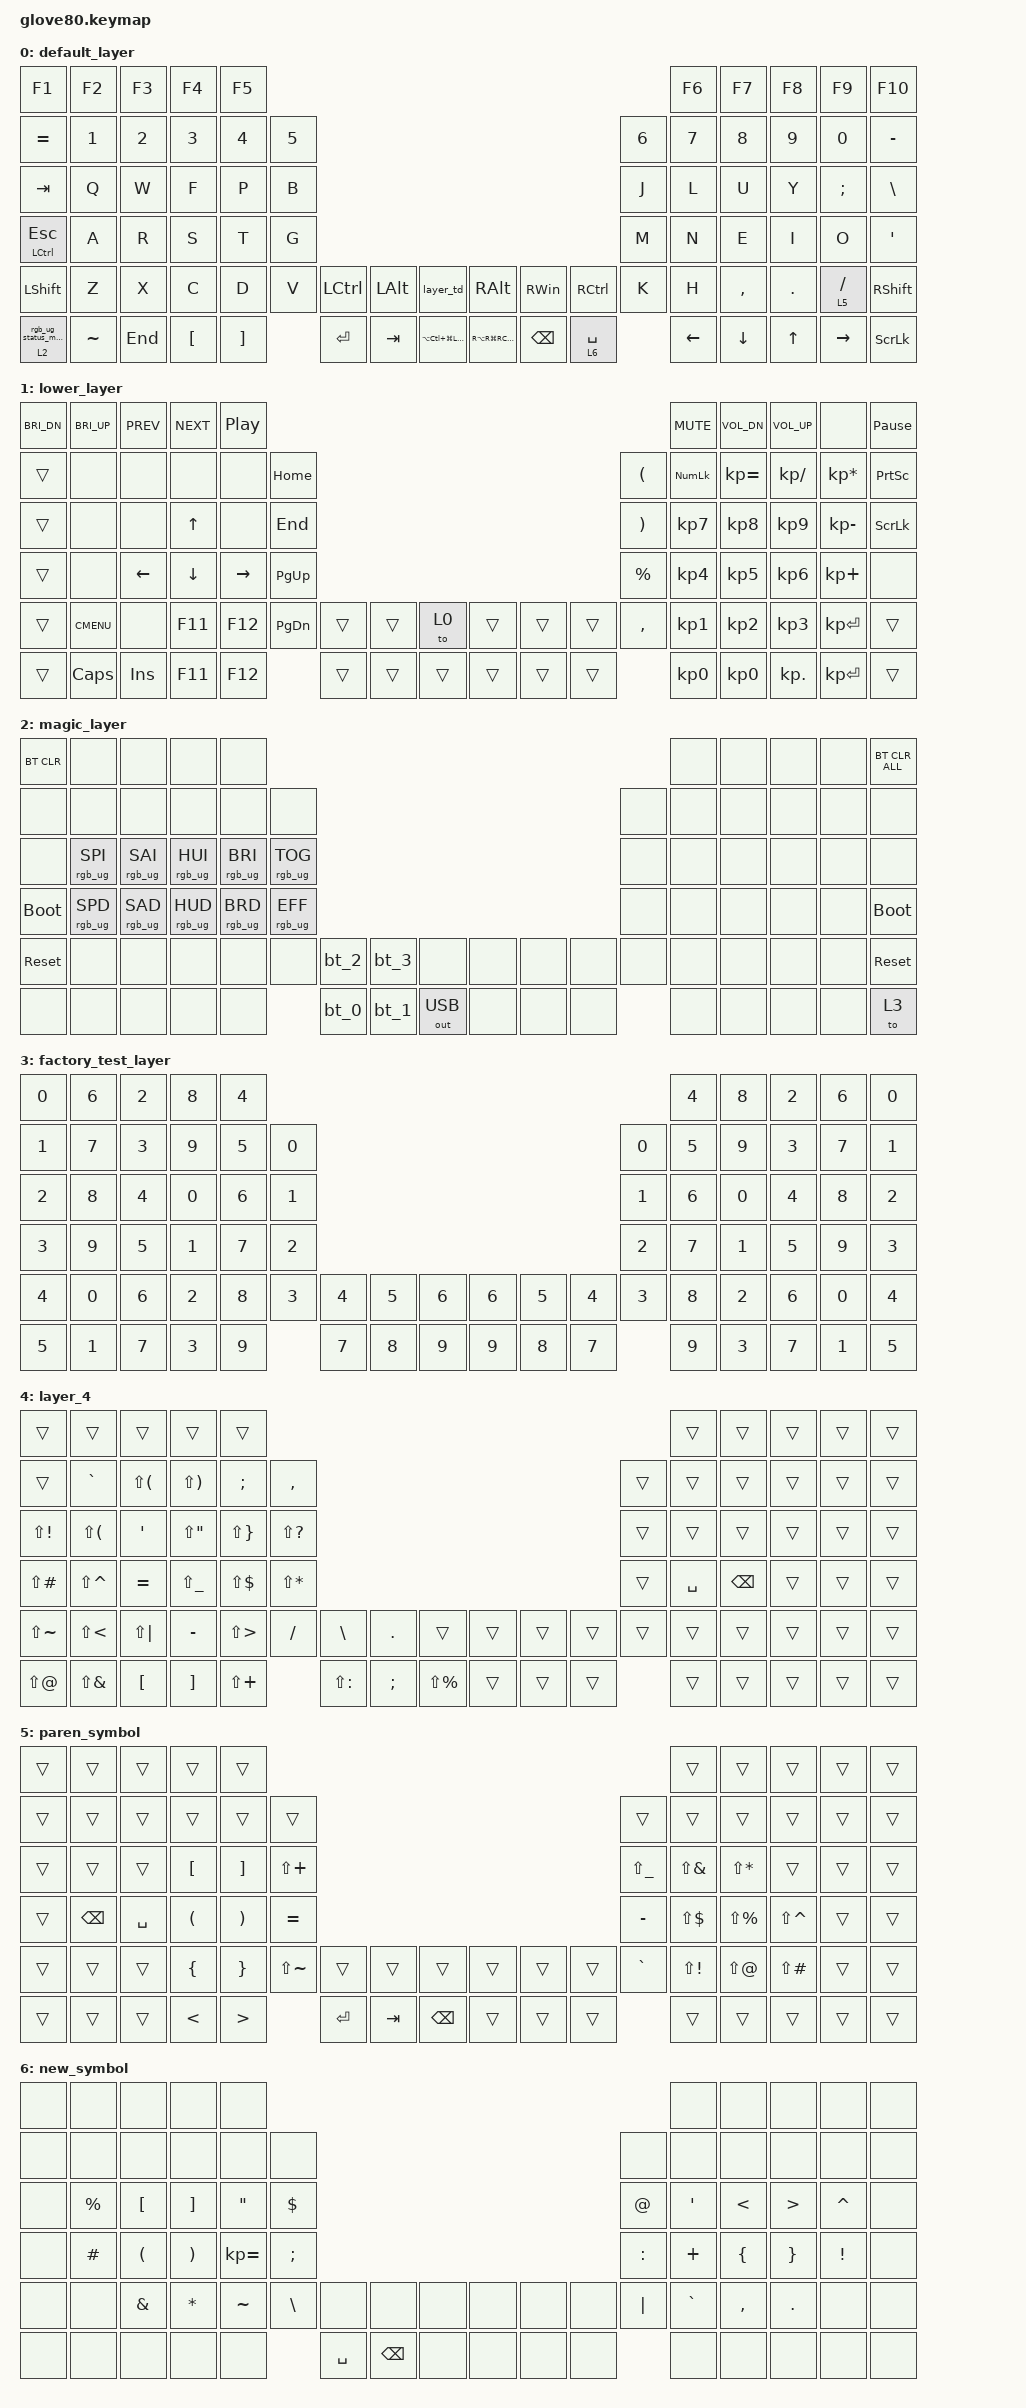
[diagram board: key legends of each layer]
/*
 * Copyright (c) 2020 The ZMK Contributors
 *
 * SPDX-License-Identifier: MIT
 */

#include <behaviors.dtsi>
#include <dt-bindings/zmk/bt.h>
#include <dt-bindings/zmk/keys.h>
#include <dt-bindings/zmk/outputs.h>
#include <dt-bindings/zmk/rgb.h>

#define HYPER LC(LS(LG(LALT)))

// layers

#define DEFAULT 0
#define LOWER 1
#define MAGIC 2
#define FACTORY_TEST 3

/ {
    behaviors {
        // For the "layer" key, it'd nice to be able to use it as either a shift or a toggle.
        // Configure it as a tap dance, so the first tap (or hold) is a &mo and the second tap is a &to

        layer_td: tap_dance_0 {
            compatible = "zmk,behavior-tap-dance";
            label = "LAYER_TAP_DANCE";
            #binding-cells = <0>;
            tapping-term-ms = <200>;
            bindings = <&mo 1>, <&to 1>;
        };

        magic: magic_hold_tap {
            compatible = "zmk,behavior-hold-tap";
            label = "MAGIC_HOLD_TAP";
            #binding-cells = <2>;
            flavor = "tap-preferred";
            tapping-term-ms = <200>;
            bindings = <&mo>, <&rgb_ug_status_macro>;
        };
    };

    macros {
        rgb_ug_status_macro: rgb_ug_status_macro_0 {
            label = "RGB_UG_STATUS";
            compatible = "zmk,behavior-macro";
            #binding-cells = <0>;
            bindings = <&rgb_ug RGB_STATUS>;
        };

        bt_0: bt_profile_macro_0 {
            label = "BT_0";
            compatible = "zmk,behavior-macro";
            #binding-cells = <0>;
            bindings = <&out OUT_BLE &bt BT_SEL 0>;
        };

        bt_1: bt_profile_macro_1 {
            label = "BT_1";
            compatible = "zmk,behavior-macro";
            #binding-cells = <0>;
            bindings = <&out OUT_BLE &bt BT_SEL 1>;
        };

        bt_2: bt_profile_macro_2 {
            label = "BT_2";
            compatible = "zmk,behavior-macro";
            #binding-cells = <0>;
            bindings = <&out OUT_BLE &bt BT_SEL 2>;
        };

        bt_3: bt_profile_macro_3 {
            label = "BT_3";
            compatible = "zmk,behavior-macro";
            #binding-cells = <0>;
            bindings = <&out OUT_BLE &bt BT_SEL 3>;
        };
    };

    keymap {
        compatible = "zmk,keymap";

        default_layer {
            // ---------------------------------------------------------------------------------------------------------------------------------
            // |  F1   |  F2 |  F3 |  F4  |  F5  |                                                               |  F6   |  F7   |  F8  |   F9  |  F10 |
            // |  =    |  1  |  2  |  3   |  4   |  5   |                                                 |  6   |   7   |   8   |  9   |   0   |   -  |
            // |  TAB  |  Q  |  W  |  E   |  R   |  T   |                                                 |  Y   |   U   |   I   |  O   |   P   |   \  |
            // |  ESC  |  A  |  S  |  D   |  F   |  G   |                                                 |  H   |   J   |   K   |  L   |   ;   |   '  |
            // |   `   |  Z  |  X  |  C   |  V   |  B   | LSHFT | LCTRL | LOWER | | LGUI  | RCTRL | RSHFT |  N   |   M   |   ,   |  .   |   /   | PGUP |
            // | MAGIC | HOME| END | LEFT | RIGHT|      | BSPC  | DEL   | LALT  | | RALT  | RET   | SPACE |      |  UP   | DOWN  |  [   |   ]   | PGDN |

            bindings = <
&kp F1                   &kp F2     &kp F3   &kp F4            &kp F5                                                                                                                                                      &kp F6    &kp F7     &kp F8   &kp F9         &kp F10
&kp EQUAL                &kp N1     &kp N2   &kp N3            &kp N4             &kp N5                                                                                                                           &kp N6  &kp N7    &kp N8     &kp N9   &kp N0         &kp MINUS
&kp TAB                  &kp Q      &kp W    &kp F             &kp P              &kp B                                                                                                                            &kp J   &kp L     &kp U      &kp Y    &kp SEMICOLON  &kp BSLH
&mt LEFT_CONTROL ESCAPE  &kp A      &kp R    &kp S             &kp T              &kp G                                                                                                                            &kp M   &kp N     &kp E      &kp I    &kp O          &kp SQT
&kp LEFT_SHIFT           &kp Z      &kp X    &kp C             &kp D              &kp V   &kp LEFT_CONTROL  &kp LEFT_ALT  &layer_td                   &kp RIGHT_ALT              &kp RIGHT_WIN  &kp RIGHT_CONTROL  &kp K   &kp H     &kp COMMA  &kp DOT  &lt 5 SLASH    &kp RIGHT_SHIFT
&magic 2 0               &kp TILDE  &kp END  &kp LEFT_BRACKET  &kp RIGHT_BRACKET          &kp ENTER         &kp TAB       &kp LA(LC(LG(LEFT_SHIFT)))  &kp RA(RG(RIGHT_CONTROL))  &kp BACKSPACE  &lt 6 SPACE                &kp LEFT  &kp DOWN   &kp UP   &kp RIGHT      &kp SCROLLLOCK
            >;
        };

        lower_layer {
            bindings = <
&kp C_BRI_DN  &kp C_BRI_UP  &kp C_PREV  &kp C_NEXT  &kp C_PP                                                                         &kp C_MUTE  &kp C_VOL_DN  &kp C_VOL_UP   &none            &kp PAUSE_BREAK
&trans        &none         &none       &none       &none      &kp HOME                                                   &kp LPAR   &kp KP_NUM  &kp KP_EQUAL  &kp KP_DIVIDE  &kp KP_MULTIPLY  &kp PSCRN
&trans        &none         &none       &kp UP      &none      &kp END                                                    &kp RPAR   &kp KP_N7   &kp KP_N8     &kp KP_N9      &kp KP_MINUS     &kp SLCK
&trans        &none         &kp LEFT    &kp DOWN    &kp RIGHT  &kp PG_UP                                                  &kp PRCNT  &kp KP_N4   &kp KP_N5     &kp KP_N6      &kp KP_PLUS      &none
&trans        &kp K_CMENU   &none       &kp F11     &kp F12    &kp PG_DN  &trans  &trans  &to 0   &trans  &trans  &trans  &kp COMMA  &kp KP_N1   &kp KP_N2     &kp KP_N3      &kp KP_ENTER     &trans
&trans        &kp CAPS      &kp INS     &kp F11     &kp F12               &trans  &trans  &trans  &trans  &trans  &trans             &kp KP_N0   &kp KP_N0     &kp KP_DOT     &kp KP_ENTER     &trans
            >;
        };

        magic_layer {
            bindings = <
&bt BT_CLR   &none            &none            &none            &none                                                                                     &none  &none  &none  &none  &bt BT_CLR_ALL
&none        &none            &none            &none            &none            &none                                                             &none  &none  &none  &none  &none  &none
&none        &rgb_ug RGB_SPI  &rgb_ug RGB_SAI  &rgb_ug RGB_HUI  &rgb_ug RGB_BRI  &rgb_ug RGB_TOG                                                   &none  &none  &none  &none  &none  &none
&bootloader  &rgb_ug RGB_SPD  &rgb_ug RGB_SAD  &rgb_ug RGB_HUD  &rgb_ug RGB_BRD  &rgb_ug RGB_EFF                                                   &none  &none  &none  &none  &none  &bootloader
&sys_reset   &none            &none            &none            &none            &none            &bt_2  &bt_3  &none         &none  &none  &none  &none  &none  &none  &none  &none  &sys_reset
&none        &none            &none            &none            &none                             &bt_0  &bt_1  &out OUT_USB  &none  &none  &none         &none  &none  &none  &none  &to 3
            >;
        };

        factory_test_layer {
            bindings = <
&kp N0  &kp N6  &kp N2  &kp N8  &kp N4                                                                  &kp N4  &kp N8  &kp N2  &kp N6  &kp N0
&kp N1  &kp N7  &kp N3  &kp N9  &kp N5  &kp N0                                                  &kp N0  &kp N5  &kp N9  &kp N3  &kp N7  &kp N1
&kp N2  &kp N8  &kp N4  &kp N0  &kp N6  &kp N1                                                  &kp N1  &kp N6  &kp N0  &kp N4  &kp N8  &kp N2
&kp N3  &kp N9  &kp N5  &kp N1  &kp N7  &kp N2                                                  &kp N2  &kp N7  &kp N1  &kp N5  &kp N9  &kp N3
&kp N4  &kp N0  &kp N6  &kp N2  &kp N8  &kp N3  &kp N4  &kp N5  &kp N6  &kp N6  &kp N5  &kp N4  &kp N3  &kp N8  &kp N2  &kp N6  &kp N0  &kp N4
&kp N5  &kp N1  &kp N7  &kp N3  &kp N9          &kp N7  &kp N8  &kp N9  &kp N9  &kp N8  &kp N7          &kp N9  &kp N3  &kp N7  &kp N1  &kp N5
            >;
        };

        layer_4 {
            bindings = <
&trans         &trans         &trans        &trans         &trans                                                                                               &trans     &trans    &trans  &trans  &trans
&trans         &kp GRAVE      &kp LS(LPAR)  &kp LS(RPAR)   &kp SEMI      &kp COMMA                                                                      &trans  &trans     &trans    &trans  &trans  &trans
&kp LS(EXCL)   &kp LS(LPAR)   &kp SQT       &kp LS(DQT)    &kp LS(RBRC)  &kp LS(QMARK)                                                                  &trans  &trans     &trans    &trans  &trans  &trans
&kp LS(POUND)  &kp LS(CARET)  &kp EQUAL     &kp LS(UNDER)  &kp LS(DLLR)  &kp LS(STAR)                                                                   &trans  &kp SPACE  &kp BSPC  &trans  &trans  &trans
&kp LS(TILDE)  &kp LS(LT)     &kp LS(PIPE)  &kp MINUS      &kp LS(GT)    &kp FSLH       &kp BSLH       &kp DOT   &trans         &trans  &trans  &trans  &trans  &trans     &trans    &trans  &trans  &trans
&kp LS(AT)     &kp LS(AMPS)   &kp LBKT      &kp RBKT       &kp LS(PLUS)                 &kp LS(COLON)  &kp SEMI  &kp LS(PRCNT)  &trans  &trans  &trans          &trans     &trans    &trans  &trans  &trans
            >;
        };

        paren_symbol {
            bindings = <
&trans  &trans    &trans     &trans                &trans                                                                                                   &trans        &trans         &trans         &trans  &trans
&trans  &trans    &trans     &trans                &trans                 &trans                                                             &trans         &trans        &trans         &trans         &trans  &trans
&trans  &trans    &trans     &kp LBKT              &kp RBKT               &kp LS(PLUS)                                                       &kp LS(UNDER)  &kp LS(AMPS)  &kp LS(STAR)   &trans         &trans  &trans
&trans  &kp BSPC  &kp SPACE  &kp LEFT_PARENTHESIS  &kp RIGHT_PARENTHESIS  &kp EQUAL                                                          &kp MINUS      &kp LS(DLLR)  &kp LS(PRCNT)  &kp LS(CARET)  &trans  &trans
&trans  &trans    &trans     &kp LEFT_BRACE        &kp RIGHT_BRACE        &kp LS(TILDE)  &trans   &trans   &trans    &trans  &trans  &trans  &kp GRAVE      &kp LS(EXCL)  &kp LS(AT)     &kp LS(POUND)  &trans  &trans
&trans  &trans    &trans     &kp LESS_THAN         &kp GREATER_THAN                      &kp RET  &kp TAB  &kp BSPC  &trans  &trans  &trans                 &trans        &trans         &trans         &trans  &trans
            >;
        };

        new_symbol {
            bindings = <
&none  &none        &none                 &none                  &none                                                                                              &none             &none           &none            &none      &none
&none  &none        &none                 &none                  &none              &none                                                                &none      &none             &none           &none            &none      &none
&none  &kp PERCENT  &kp LEFT_BRACKET      &kp RIGHT_BRACKET      &kp DOUBLE_QUOTES  &kp DOLLAR                                                           &kp AT     &kp SINGLE_QUOTE  &kp LESS_THAN   &kp GT           &kp CARET  &none
&none  &kp HASH     &kp LEFT_PARENTHESIS  &kp RIGHT_PARENTHESIS  &kp KP_EQUAL       &kp SEMICOLON                                                        &kp COLON  &kp PLUS          &kp LEFT_BRACE  &kp RIGHT_BRACE  &kp EXCL   &none
&none  &none        &kp AMPERSAND         &kp ASTERISK           &kp TILDE          &kp BACKSLASH  &none      &none          &none  &none  &none  &none  &kp PIPE   &kp GRAVE         &kp COMMA       &kp PERIOD       &none      &none
&none  &none        &none                 &none                  &none                             &kp SPACE  &kp BACKSPACE  &none  &none  &none  &none             &none             &none           &none            &none      &none
            >;
        };
    };
};
